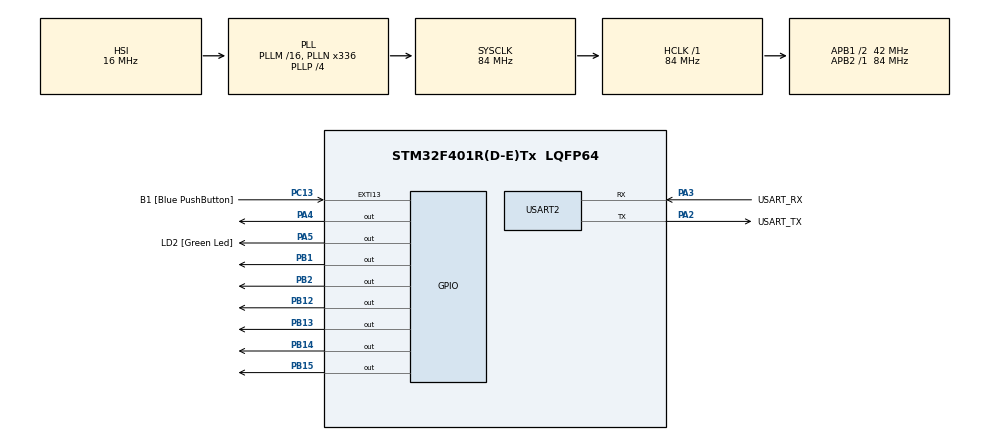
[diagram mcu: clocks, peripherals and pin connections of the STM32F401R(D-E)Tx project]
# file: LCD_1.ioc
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Mcu.Family=STM32F4
Mcu.Name=STM32F401R(D-E)Tx
Mcu.Package=LQFP64
NVIC.PriorityGroup=NVIC_PRIORITYGROUP_0
NVIC.TIM2_IRQn=true\:0\:0\:false\:false\:true\:true\:true\:true
PA13.GPIO_Label=TMS
PA13.Mode=Serial_Wire
PA13.Signal=SYS_JTMS-SWDIO
PA14.GPIO_Label=TCK
PA14.Mode=Serial_Wire
PA14.Signal=SYS_JTCK-SWCLK
PA2.GPIO_Label=USART_TX
PA2.GPIO_Mode=GPIO_MODE_AF_PP
PA2.GPIO_PuPd=GPIO_NOPULL
PA2.GPIO_Speed=GPIO_SPEED_FREQ_LOW
PA2.Mode=Asynchronous
PA2.Signal=USART2_TX
PA3.GPIO_Label=USART_RX
PA3.GPIO_Mode=GPIO_MODE_AF_PP
PA3.GPIO_PuPd=GPIO_NOPULL
PA3.GPIO_Speed=GPIO_SPEED_FREQ_LOW
PA3.Mode=Asynchronous
PA3.Signal=USART2_RX
PA4.Signal=GPIO_Output
PA5.GPIO_Label=LD2 [Green Led]
PA5.GPIO_Mode=GPIO_MODE_OUTPUT_PP
PA5.GPIO_PuPd=GPIO_NOPULL
PA5.GPIO_Speed=GPIO_SPEED_FREQ_LOW
PA5.Signal=GPIO_Output
PB1.Signal=GPIO_Output
PB12.Signal=GPIO_Output
PB13.Signal=GPIO_Output
PB14.Signal=GPIO_Output
PB15.Signal=GPIO_Output
PB2.Signal=GPIO_Output
PB3.GPIO_Label=SWO
PB3.Signal=SYS_JTDO-SWO
PC13-ANTI_TAMP.GPIO_Label=B1 [Blue PushButton]
PC13-ANTI_TAMP.GPIO_ModeDefaultEXTI=GPIO_MODE_IT_FALLING
PC13-ANTI_TAMP.GPIO_PuPd=GPIO_NOPULL
PC13-ANTI_TAMP.Signal=GPXTI13
PC14-OSC32_IN.Mode=LSE-External-Oscillator
PC14-OSC32_IN.Signal=RCC_OSC32_IN
PC15-OSC32_OUT.Mode=LSE-External-Oscillator
PC15-OSC32_OUT.Signal=RCC_OSC32_OUT
PH0\ -\ OSC_IN.Mode=HSE-External-Clock-Source
PH0\ -\ OSC_IN.Signal=RCC_OSC_IN
PH1\ -\ OSC_OUT.Mode=HSE-External-Clock-Source
PH1\ -\ OSC_OUT.Signal=RCC_OSC_OUT
ProjectManager.HeapSize=0x200
ProjectManager.StackSize=0x400
ProjectManager.TargetToolchain=STM32CubeIDE
RCC.48MHZClocksFreq_Value=48000000
RCC.AHBFreq_Value=84000000
RCC.APB1CLKDivider=RCC_HCLK_DIV2
RCC.APB1Freq_Value=42000000
RCC.APB1TimFreq_Value=84000000
RCC.APB2Freq_Value=84000000
RCC.APB2TimFreq_Value=84000000
RCC.CortexFreq_Value=84000000
RCC.HCLKFreq_Value=84000000
RCC.HSE_VALUE=8000000
RCC.HSI_VALUE=16000000
RCC.PLLN=336
RCC.PLLP=RCC_PLLP_DIV4
RCC.PLLQ=7
RCC.SYSCLKFreq_VALUE=84000000
RCC.SYSCLKSource=RCC_SYSCLKSOURCE_PLLCLK
RCC.VCOOutputFreq_Value=336000000
TIM2.Period=10000 - 1
TIM2.Prescaler=8400 - 1
USART2.VirtualMode=VM_ASYNC
VP_TIM2_VS_ClockSourceINT.Mode=Internal
board=NUCLEO-F401RE

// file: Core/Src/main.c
/* USER CODE BEGIN Header */
/**
  ******************************************************************************
  * @file           : main.c
  * @brief          : Main program body
  ******************************************************************************
  * @attention
  *
  * Copyright (c) 2024 STMicroelectronics.
  * All rights reserved.
  *
  * This software is licensed under terms that can be found in the LICENSE file
  * in the root directory of this software component.
  * If no LICENSE file comes with this software, it is provided AS-IS.
  *
  ******************************************************************************
  */
/* USER CODE END Header */
#include "main.h"

/* USER CODE BEGIN Includes */
#include "PMDB16_LCD.h"
/* USER CODE END Includes */

TIM_HandleTypeDef htim2;

UART_HandleTypeDef huart2;

void SystemClock_Config(void);
static void MX_GPIO_Init(void);
static void MX_USART2_UART_Init(void);
static void MX_TIM2_Init(void);

/* USER CODE BEGIN 0 */

const char *names[] = {
    "Marco La Barbera",
    "Tomasso Majocchi",
    "Matteo Pompilio",
    "Andrea Maffezzini",
	"Giulio Lotto"
};

int row = 0;
int name_index = 0;

void HAL_TIM_PeriodElapsedCallback (TIM_HandleTypeDef *htim)
{
	if (htim == &htim2) {

			lcd_clear();
			lcd_println(names[name_index], row);
			lcd_println(names[name_index+1], row+1);

			name_index++;

			if(name_index == 4){

			  lcd_clear();
			  lcd_println(names[4], row);
			  lcd_println(names[0], row+1);
			  name_index = 0;

		  };

	}
}
/* USER CODE END 0 */

int main(void)
{

  /* MCU Configuration--------------------------------------------------------*/

  /* Reset of all peripherals, Initializes the Flash interface and the Systick. */
  HAL_Init();

  /* Configure the system clock */
  SystemClock_Config();

  /* Initialize all configured peripherals */
  MX_GPIO_Init();
  MX_USART2_UART_Init();
  MX_TIM2_Init();
  /* USER CODE BEGIN 2 */
  lcd_initialize();
  lcd_backlight_ON ();
  lcd_clear();

  lcd_println(names[name_index], row+1); // initialize with member 1

  HAL_TIM_Base_Start_IT (&htim2);

  /* USER CODE END 2 */

  /* Infinite loop */
  while (1)
  {

  }
}

void SystemClock_Config(void)
{
  RCC_OscInitTypeDef RCC_OscInitStruct = {0};
  RCC_ClkInitTypeDef RCC_ClkInitStruct = {0};

  /** Configure the main internal regulator output voltage
  */
  __HAL_RCC_PWR_CLK_ENABLE();
  __HAL_PWR_VOLTAGESCALING_CONFIG(PWR_REGULATOR_VOLTAGE_SCALE2);

  /** Initializes the RCC Oscillators according to the specified parameters
  * in the RCC_OscInitTypeDef structure.
  */
  RCC_OscInitStruct.OscillatorType = RCC_OSCILLATORTYPE_HSI;
  RCC_OscInitStruct.HSIState = RCC_HSI_ON;
  RCC_OscInitStruct.HSICalibrationValue = RCC_HSICALIBRATION_DEFAULT;
  RCC_OscInitStruct.PLL.PLLState = RCC_PLL_ON;
  RCC_OscInitStruct.PLL.PLLSource = RCC_PLLSOURCE_HSI;
  RCC_OscInitStruct.PLL.PLLM = 16;
  RCC_OscInitStruct.PLL.PLLN = 336;
  RCC_OscInitStruct.PLL.PLLP = RCC_PLLP_DIV4;
  RCC_OscInitStruct.PLL.PLLQ = 7;
  if (HAL_RCC_OscConfig(&RCC_OscInitStruct) != HAL_OK)
  {
    Error_Handler();
  }

  /** Initializes the CPU, AHB and APB buses clocks
  */
  RCC_ClkInitStruct.ClockType = RCC_CLOCKTYPE_HCLK|RCC_CLOCKTYPE_SYSCLK
                              |RCC_CLOCKTYPE_PCLK1|RCC_CLOCKTYPE_PCLK2;
  RCC_ClkInitStruct.SYSCLKSource = RCC_SYSCLKSOURCE_PLLCLK;
  RCC_ClkInitStruct.AHBCLKDivider = RCC_SYSCLK_DIV1;
  RCC_ClkInitStruct.APB1CLKDivider = RCC_HCLK_DIV2;
  RCC_ClkInitStruct.APB2CLKDivider = RCC_HCLK_DIV1;

  if (HAL_RCC_ClockConfig(&RCC_ClkInitStruct, FLASH_LATENCY_2) != HAL_OK)
  {
    Error_Handler();
  }
}

static void MX_TIM2_Init(void)
{

  TIM_ClockConfigTypeDef sClockSourceConfig = {0};
  TIM_MasterConfigTypeDef sMasterConfig = {0};

  htim2.Instance = TIM2;
  htim2.Init.Prescaler = 8400 - 1;
  htim2.Init.CounterMode = TIM_COUNTERMODE_UP;
  htim2.Init.Period = 10000 - 1;
  htim2.Init.ClockDivision = TIM_CLOCKDIVISION_DIV1;
  htim2.Init.AutoReloadPreload = TIM_AUTORELOAD_PRELOAD_DISABLE;
  if (HAL_TIM_Base_Init(&htim2) != HAL_OK)
  {
    Error_Handler();
  }
  sClockSourceConfig.ClockSource = TIM_CLOCKSOURCE_INTERNAL;
  if (HAL_TIM_ConfigClockSource(&htim2, &sClockSourceConfig) != HAL_OK)
  {
    Error_Handler();
  }
  sMasterConfig.MasterOutputTrigger = TIM_TRGO_RESET;
  sMasterConfig.MasterSlaveMode = TIM_MASTERSLAVEMODE_DISABLE;
  if (HAL_TIMEx_MasterConfigSynchronization(&htim2, &sMasterConfig) != HAL_OK)
  {
    Error_Handler();
  }

}

static void MX_USART2_UART_Init(void)
{

  huart2.Instance = USART2;
  huart2.Init.BaudRate = 115200;
  huart2.Init.WordLength = UART_WORDLENGTH_8B;
  huart2.Init.StopBits = UART_STOPBITS_1;
  huart2.Init.Parity = UART_PARITY_NONE;
  huart2.Init.Mode = UART_MODE_TX_RX;
  huart2.Init.HwFlowCtl = UART_HWCONTROL_NONE;
  huart2.Init.OverSampling = UART_OVERSAMPLING_16;
  if (HAL_UART_Init(&huart2) != HAL_OK)
  {
    Error_Handler();
  }

}

static void MX_GPIO_Init(void)
{
  GPIO_InitTypeDef GPIO_InitStruct = {0};

  /* GPIO Ports Clock Enable */
  __HAL_RCC_GPIOC_CLK_ENABLE();
  __HAL_RCC_GPIOH_CLK_ENABLE();
  __HAL_RCC_GPIOA_CLK_ENABLE();
  __HAL_RCC_GPIOB_CLK_ENABLE();

  /*Configure GPIO pin Output Level */
  HAL_GPIO_WritePin(GPIOA, GPIO_PIN_4|LD2_Pin, GPIO_PIN_RESET);

  /*Configure GPIO pin Output Level */
  HAL_GPIO_WritePin(GPIOB, GPIO_PIN_1|GPIO_PIN_2|GPIO_PIN_12|GPIO_PIN_13
                          |GPIO_PIN_14|GPIO_PIN_15, GPIO_PIN_RESET);

  /*Configure GPIO pin : B1_Pin */
  GPIO_InitStruct.Pin = B1_Pin;
  GPIO_InitStruct.Mode = GPIO_MODE_IT_FALLING;
  GPIO_InitStruct.Pull = GPIO_NOPULL;
  HAL_GPIO_Init(B1_GPIO_Port, &GPIO_InitStruct);

  /*Configure GPIO pins : PA4 LD2_Pin */
  GPIO_InitStruct.Pin = GPIO_PIN_4|LD2_Pin;
  GPIO_InitStruct.Mode = GPIO_MODE_OUTPUT_PP;
  GPIO_InitStruct.Pull = GPIO_NOPULL;
  GPIO_InitStruct.Speed = GPIO_SPEED_FREQ_LOW;
  HAL_GPIO_Init(GPIOA, &GPIO_InitStruct);

  /*Configure GPIO pins : PB1 PB2 PB12 PB13
                           PB14 PB15 */
  GPIO_InitStruct.Pin = GPIO_PIN_1|GPIO_PIN_2|GPIO_PIN_12|GPIO_PIN_13
                          |GPIO_PIN_14|GPIO_PIN_15;
  GPIO_InitStruct.Mode = GPIO_MODE_OUTPUT_PP;
  GPIO_InitStruct.Pull = GPIO_NOPULL;
  GPIO_InitStruct.Speed = GPIO_SPEED_FREQ_LOW;
  HAL_GPIO_Init(GPIOB, &GPIO_InitStruct);

}

void Error_Handler(void)
{
  __disable_irq();
  while (1)
  {
  }
}
